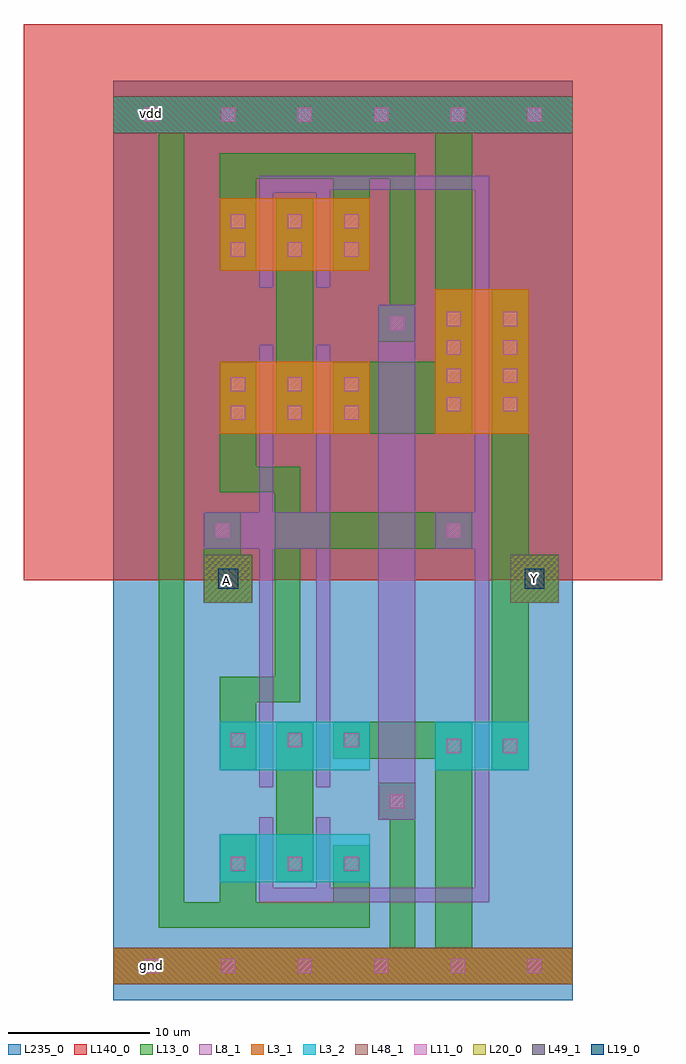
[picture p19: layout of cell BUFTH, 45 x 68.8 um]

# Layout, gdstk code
import gdstk
lib = gdstk.Library(unit=1e-6, precision=1e-09)
def R(c, l, rs):  # rectangles x0, y0, x1, y1
    for r in rs: c.add(gdstk.rectangle(r[:2], r[2:], *l))
def A(c, l, x, y, w, h, nx, ny, dx, dy):  # array of equal rectangles
    R(c, l, [(x+i*dx, y+j*dy, x+i*dx+w, y+j*dy+h) for i in range(nx) for j in range(ny)])
def P(c, l, *ps):  # polygons
    for p in ps: c.add(gdstk.Polygon(p, *l))
L3_1 = (3, 1)
L3_2 = (3, 2)
L8_1 = (8, 1)
L11_0 = (11, 0)
L13_0 = (13, 0)
L19_0 = (19, 0)
L20_0 = (20, 0)
L48_1 = (48, 1)
L49_1 = (49, 1)
L140_0 = (140, 0)
L235_0 = (235, 0)

bufth = lib.new_cell('BUFTH')
R(bufth, L3_1, [(0,1.1,16.2,3.7), (16.2,1.1,32.4,3.7), (7.5,39.9,14.1,45), (11.5,39.9,18.1,45), (22.7,39.9,29.3,50.1), (7.5,51.4,14.1,56.5), (11.5,51.4,18.1,56.5)])
R(bufth, L3_2, [(7.5,8.3,18.1,11.7), (7.5,8.3,18.1,11.7), (7.5,16.2,18.1,19.6), (7.5,16.2,18.1,19.6), (22.7,16.2,29.3,19.6), (0,61.1,16.2,63.7), (16.2,61.1,32.4,63.7)])
R(bufth, L8_1, [(18.7,12.7,21.3,49)])
P(bufth, L8_1, [(10.3,15),(10.3,31.8),(6.4,31.8),(6.4,34.4),(10.3,34.4),(10.3,46.2),(11.3,46.2),(11.3,34.4),(14.3,34.4),(14.3,46.2),(15.3,46.2),(15.3,15),(14.3,15),(14.3,31.8),(11.3,31.8),(11.3,15)],
  [(10.3,6.9),(10.3,12.9),(11.3,12.9),(11.3,7.9),(14.3,7.9),(14.3,12.9),(15.3,12.9),(15.3,7.9),(25.5,7.9),(25.5,31.8),(22.7,31.8),(22.7,34.4),(25.5,34.4),(25.5,57.1),(15.3,57.1),(15.3,50.2),(14.3,50.2),(14.3,56.9),(11.3,56.9),(11.3,50.2),(10.3,50.2),(10.3,58.1),(26.5,58.1),(26.5,6.9)])
A(bufth, L11_0, 7.6, 1.9, 1, 1, 4, 1, 5.4, 0)
A(bufth, L11_0, 23.5, 41.5, 1, 1, 1, 4, 0, 2)
A(bufth, L11_0, 27.5, 41.5, 1, 1, 1, 4, 0, 2)
A(bufth, L11_0, 7.6, 61.9, 1, 1, 3, 1, 5.4, 0)
R(bufth, L11_0, [(2.2,1.9,3.2,2.9), (7.6,1.9,8.6,2.9), (23.8,1.9,24.8,2.9), (29.2,1.9,30.2,2.9), (8.3,9.1,9.3,10.1), (8.3,9.1,9.3,10.1), (12.3,9.1,13.3,10.1), (12.3,9.1,13.3,10.1), (16.3,9.1,17.3,10.1), (16.3,9.1,17.3,10.1), (19.5,13.5,20.5,14.5), (23.5,17.4,24.5,18.4), (27.5,17.4,28.5,18.4), (27.5,17.4,28.5,18.4), (8.3,17.8,9.3,18.8), (8.3,17.8,9.3,18.8), (12.3,17.8,13.3,18.8), (12.3,17.8,13.3,18.8), (16.3,17.8,17.3,18.8), (16.3,17.8,17.3,18.8), (7.2,32.6,8.2,33.6), (23.5,32.6,24.5,33.6), (8.3,40.9,9.3,41.9), (12.3,40.9,13.3,41.9), (12.3,40.9,13.3,41.9), (16.3,40.9,17.3,41.9), (8.3,42.9,9.3,43.9), (12.3,42.9,13.3,43.9), (12.3,42.9,13.3,43.9), (16.3,42.9,17.3,43.9), (19.5,47.2,20.5,48.2), (8.3,52.4,9.3,53.4), (12.3,52.4,13.3,53.4), (12.3,52.4,13.3,53.4), (16.3,52.4,17.3,53.4), (8.3,54.4,9.3,55.4), (12.3,54.4,13.3,55.4), (12.3,54.4,13.3,55.4), (16.3,54.4,17.3,55.4), (2.2,61.9,3.2,62.9), (2.2,61.9,3.2,62.9), (7.6,61.9,8.6,62.9), (7.6,61.9,8.6,62.9), (7.6,61.9,8.6,62.9), (18.4,61.9,19.4,62.9), (23.8,61.9,24.8,62.9), (23.8,61.9,24.8,62.9), (23.8,61.9,24.8,62.9), (23.8,61.9,24.8,62.9), (29.2,61.9,30.2,62.9)])
R(bufth, L13_0, [(0,1.1,32.4,3.7), (11.5,8.3,14.1,19.6), (11.5,39.9,14.1,56.5), (0,61.1,32.4,63.7)])
P(bufth, L13_0, [(19.5,3.7),(19.5,12.7),(18.7,12.7),(18.7,15.3),(21.3,15.3),(21.3,3.7)],
  [(22.7,3.7),(22.7,17),(15.5,17),(15.5,19.6),(25.3,19.6),(25.3,3.7)],
  [(6.4,28),(6.4,34.4),(9,34.4),(9,31.4),(9.8,31.4),(9.8,28)],
  [(7.5,16.2),(7.5,22.8),(11.4,22.8),(11.4,35.8),(7.5,35.8),(7.5,45),(10.1,45),(10.1,37.6),(13.2,37.6),(13.2,34.4),(25.3,34.4),(25.3,31.8),(13.2,31.8),(13.2,21),(10.1,21),(10.1,16.2)],
  [(26.7,16.2),(26.7,50.1),(29.3,50.1),(29.3,31.4),(31.4,31.4),(31.4,28),(29.3,28),(29.3,16.2)],
  [(18.7,46.4),(18.7,49),(19.5,49),(19.5,57.9),(18.1,57.9),(18.1,51.4),(15.5,51.4),(15.5,57.9),(10.1,57.9),(10.1,51.4),(7.5,51.4),(7.5,59.7),(21.3,59.7),(21.3,46.4)],
  [(3.2,5.1),(3.2,61.1),(5,61.1),(5,6.9),(7.5,6.9),(7.5,11.7),(10.1,11.7),(10.1,6.9),(15.5,6.9),(15.5,10.9),(18.1,10.9),(18.1,5.1)],
  [(15.5,39.9),(15.5,45),(22.7,45),(22.7,61.1),(25.3,61.1),(25.3,39.9)])
R(bufth, L19_0, [(7.4,29,8.8,30.4), (29,29,30.4,30.4)])
R(bufth, L20_0, [(6.4,28,9.8,31.4), (28,28,31.4,31.4)])
R(bufth, L48_1, [(0,1.1,16.2,3.7), (16.2,1.1,32.4,3.7), (0,61.1,16.2,63.7), (16.2,61.1,32.4,63.7)])
R(bufth, L49_1, [(6.4,28,9.8,31.4), (28,28,31.4,31.4)])
R(bufth, L140_0, [(-6.3,29.6,38.7,68.8)])
R(bufth, L235_0, [(0,0,32.4,64.8)])
bufth.add(gdstk.Label('A', (8,29.6), layer=49, texttype=0))
bufth.add(gdstk.Label('Y', (29.7,29.7), layer=49, texttype=0))
bufth.add(gdstk.Label('gnd', (2.7,2.4), layer=48, texttype=0))
bufth.add(gdstk.Label('vdd', (2.7,62.5), layer=48, texttype=0))

lib.write_gds('BUFTH.gds')
